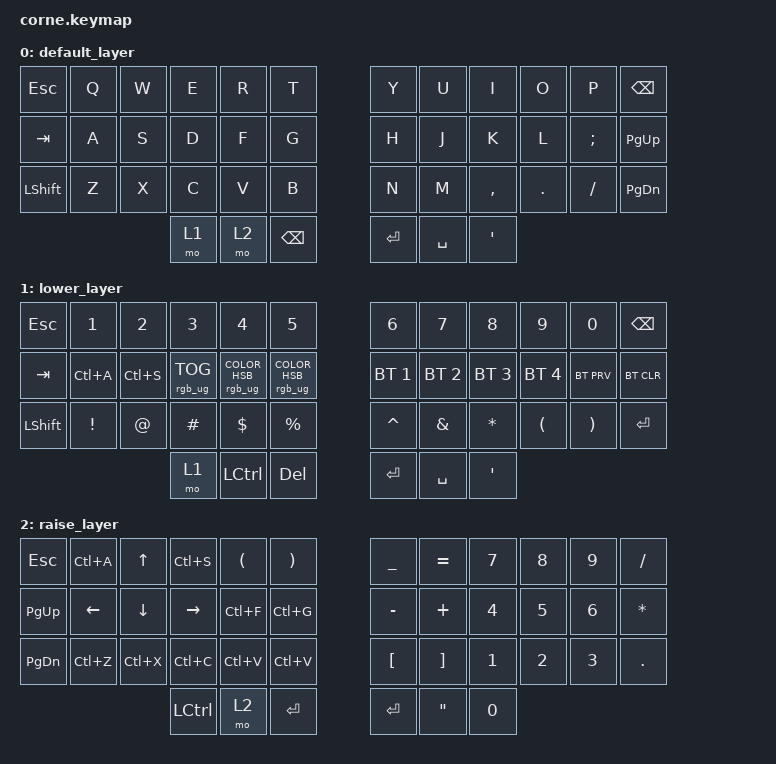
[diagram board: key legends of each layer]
/*
 * Copyright (c) 2020 The ZMK Contributors
 *
 * SPDX-License-Identifier: MIT
 */

#include <behaviors.dtsi>
#include <dt-bindings/zmk/bt.h>
#include <dt-bindings/zmk/keys.h>
#include <dt-bindings/zmk/rgb.h>

/ {
    combos {
        compatible = "zmk,combos";

        new_combo {
            bindings = <&trans>;
            key-positions = <37 1>;
        };
    };

    macros {
        new_macro: new_macro {
            compatible = "zmk,behavior-macro";
            label = "new_macro";
            #binding-cells = <0>;
            bindings =
                <&macro_tap>,
                <&kp LEFT_CONTROL &kp V>;
        };
    };

    keymap {
        compatible = "zmk,keymap";

        default_layer {
            // -----------------------------------------------------------------------------------------
            // |  TAB |  Q  |  W  |  E  |  R  |  T  |   |  Y  |  U   |  I  |  O  |  P  | BKSP |
            // | CTRL |  A  |  S  |  D  |  F  |  G  |   |  H  |  J   |  K  |  L  |  ;  |  '   |
            // | SHFT |  Z  |  X  |  C  |  V  |  B  |   |  N  |  M   |  ,  |  .  |  /  | ESC  |
            //                    | GUI | LWR | SPC |   | ENT | RSE  | ALT |

            bindings = <
&kp ESCAPE  &kp Q  &kp W  &kp E  &kp R  &kp T          &kp Y      &kp U      &kp I             &kp O    &kp P     &kp BACKSPACE
&kp TAB     &kp A  &kp S  &kp D  &kp F  &kp G          &kp H      &kp J      &kp K             &kp L    &kp SEMI  &kp PAGE_UP
&kp LSHFT   &kp Z  &kp X  &kp C  &kp V  &kp B          &kp N      &kp M      &kp COMMA         &kp DOT  &kp FSLH  &kp PAGE_DOWN
                          &mo 1  &mo 2  &kp BACKSPACE  &kp ENTER  &kp SPACE  &kp SINGLE_QUOTE
            >;
        };

        lower_layer {
            // -----------------------------------------------------------------------------------------
            // |  TAB |  1  |  2  |  3  |  4  |  5  |   |  6  |  7  |  8  |  9  |  0  | BKSP |
            // | BTCLR| BT1 | BT2 | BT3 | BT4 | BT5 |   | LFT | DWN |  UP | RGT |     |      |
            // | SHFT |     |     |     |     |     |   |     |     |     |     |     |      |
            //                    | GUI |     | SPC |   | ENT |     | ALT |

            bindings = <
&kp ESCAPE  &kp N1     &kp N2     &kp N3           &kp N4                             &kp N5                             &kp N6        &kp N7         &kp N8            &kp N9                &kp N0                 &kp BSPC
&kp TAB     &kp LC(A)  &kp LC(S)  &rgb_ug RGB_TOG  &rgb_ug RGB_COLOR_HSB(120,100,50)  &rgb_ug RGB_COLOR_HSB(209,100,50)  &bt BT_SEL 1  &bt BT_SEL 2   &bt BT_SEL 3      &bt BT_SEL 4          &bt BT_PRV             &bt BT_CLR
&kp LSHFT   &kp EXCL   &kp AT     &kp HASH         &kp DOLLAR                         &kp PERCENT                        &kp CARET     &kp AMPERSAND  &kp STAR          &kp LEFT_PARENTHESIS  &kp RIGHT_PARENTHESIS  &kp ENTER
                                  &mo 1            &kp LEFT_CONTROL                   &kp DELETE                         &kp RET       &kp SPACE      &kp SINGLE_QUOTE
            >;
        };

        raise_layer {
            // -----------------------------------------------------------------------------------------
            // |  TAB |  !  |  @  |  #  |  $  |  %  |   |  ^  |  &  |  *  |  (  |  )  | BKSP |
            // | CTRL |     |     |     |     |     |   |  -  |  =  |  [  |  ]  |  \  |  `   |
            // | SHFT |     |     |     |     |     |   |  _  |  +  |  {  |  }  | "|" |  ~   |
            //                    | GUI |     | SPC |   | ENT |     | ALT |

            bindings = <
&kp ESCAPE     &kp LC(A)  &kp UP     &kp LC(S)         &kp LEFT_PARENTHESIS  &kp RIGHT_PARENTHESIS  &kp UNDER         &kp EQUAL          &kp NUMBER_7  &kp NUMBER_8  &kp NUMBER_9  &kp SLASH
&kp PAGE_UP    &kp LEFT   &kp DOWN   &kp RIGHT         &kp LC(F)             &kp LC(G)              &kp MINUS         &kp PLUS           &kp NUMBER_4  &kp NUMBER_5  &kp NUMBER_6  &kp STAR
&kp PAGE_DOWN  &kp LC(Z)  &kp LC(X)  &kp LC(C)         &kp LC(V)             &kp LC(V)              &kp LEFT_BRACKET  &kp RIGHT_BRACKET  &kp NUMBER_1  &kp NUMBER_2  &kp NUMBER_3  &kp DOT
                                     &kp LEFT_CONTROL  &mo 2                 &kp ENTER              &kp RET           &kp DOUBLE_QUOTES  &kp NUMBER_0
            >;
        };
    };
};
